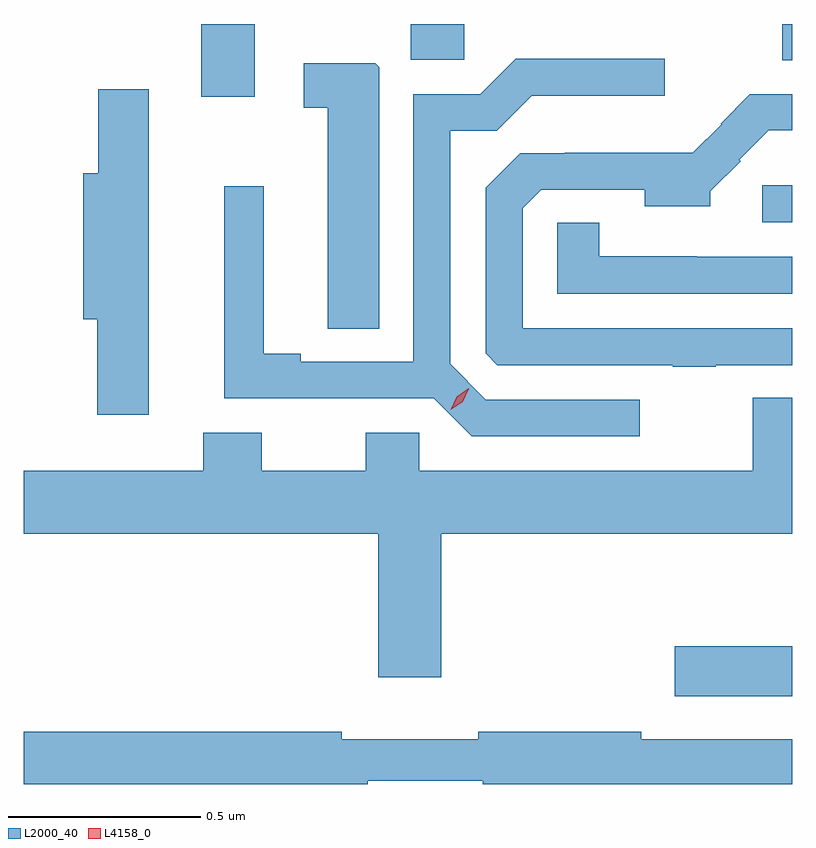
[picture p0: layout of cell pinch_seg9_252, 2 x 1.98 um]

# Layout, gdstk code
import gdstk
lib = gdstk.Library(unit=1e-6, precision=1e-09)
def R(c, l, rs):  # rectangles x0, y0, x1, y1
    for r in rs: c.add(gdstk.rectangle(r[:2], r[2:], *l))
def P(c, l, *ps):  # polygons
    for p in ps: c.add(gdstk.Polygon(p, *l))
L2000_40 = (2000, 40)
L4158_0 = (4158, 0)

pinch_seg9_252 = lib.new_cell('pinch_seg9_252')
R(pinch_seg9_252, L2000_40, [(465.48,1217.309,465.785,1217.439), (465.708,1218.543,465.785,1218.639), (464.246,1218.87,464.386,1219.059), (465.76,1218.965,465.785,1219.059), (464.792,1218.966,464.931,1219.059)])
P(pinch_seg9_252, L2000_40, [(465.388,1218.081),(464.988,1218.081),(464.895,1218.174),(464.895,1218.781),(465.016,1218.781),(465.107,1218.872),(465.454,1218.872),(465.454,1218.969),(465.066,1218.969),(464.973,1218.876),(464.799,1218.876),(464.799,1218.18),(464.506,1218.18),(464.506,1218.2),(464.41,1218.2),(464.41,1218.637),(464.306,1218.637),(464.306,1218.084),(464.852,1218.084),(464.951,1217.985),(465.388,1217.985)],
  [(464.71,1218.947),(464.7,1218.957),(464.514,1218.957),(464.514,1218.841),(464.576,1218.841),(464.576,1218.265),(464.71,1218.265)],
  [(464.11,1218.889),(463.979,1218.889),(463.979,1218.67),(463.94,1218.67),(463.94,1218.29),(463.976,1218.29),(463.976,1218.042),(464.11,1218.042)],
  [(465.587,1218.171),(465.785,1218.171),(465.785,1218.267),(465.084,1218.267),(465.084,1218.579),(465.132,1218.627),(465.401,1218.627),(465.401,1218.584),(465.572,1218.584),(465.572,1218.624),(465.651,1218.702),(465.648,1218.705),(465.725,1218.782),(465.785,1218.782),(465.785,1218.876),(465.675,1218.876),(465.599,1218.799),(465.601,1218.797),(465.527,1218.724),(465.193,1218.724),(465.193,1218.722),(465.077,1218.722),(464.988,1218.633),(464.988,1218.201),(465.018,1218.171),(465.475,1218.171),(465.475,1218.166),(465.587,1218.166)],
  [(465.785,1218.453),(465.537,1218.453),(465.537,1218.454),(465.283,1218.454),(465.283,1218.542),(465.174,1218.542),(465.174,1218.357),(465.785,1218.357)],
  [(464.872,1217.732),(465.785,1217.732),(465.785,1218.086),(465.683,1218.086),(465.683,1217.896),(464.814,1217.896),(464.814,1217.994),(464.675,1217.994),(464.675,1217.896),(464.404,1217.896),(464.404,1217.995),(464.252,1217.995),(464.252,1217.896),(463.785,1217.896),(463.785,1217.732),(464.708,1217.732),(464.708,1217.358),(464.872,1217.358)],
  [(464.68,1217.088),(464.98,1217.088),(464.98,1217.08),(465.785,1217.08),(465.785,1217.196),(465.392,1217.196),(465.392,1217.216),(464.968,1217.216),(464.968,1217.197),(464.612,1217.197),(464.612,1217.216),(463.785,1217.216),(463.785,1217.08),(464.68,1217.08)])
P(pinch_seg9_252, L4158_0, [(464.896,1218.055),(464.896,1218.055),(464.912,1218.089),(464.943,1218.11),(464.943,1218.11),(464.943,1218.109),(464.927,1218.076),(464.896,1218.055)])

lib.write_gds('pinch_seg9_252.gds')
